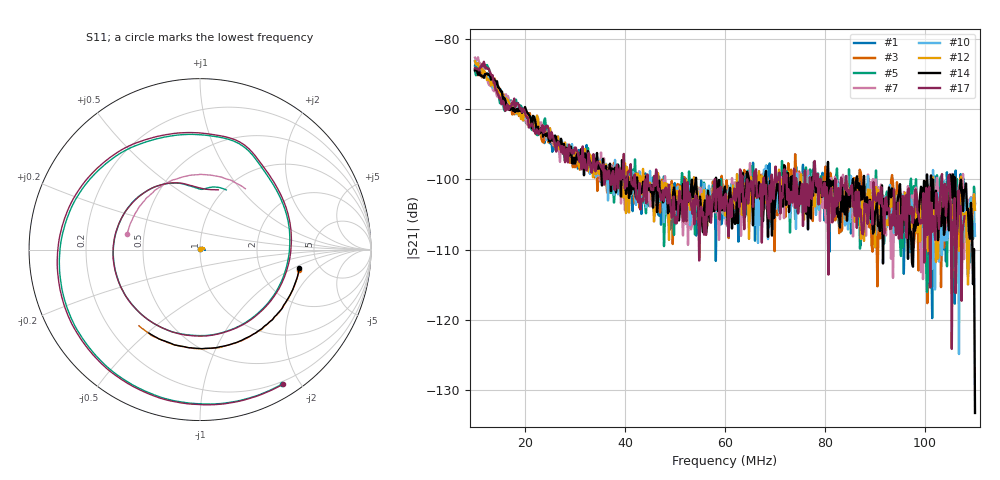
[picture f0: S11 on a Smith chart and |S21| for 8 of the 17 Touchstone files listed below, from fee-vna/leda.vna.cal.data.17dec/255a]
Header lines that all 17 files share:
! Anritsu VNA Master:  Model: MS2036C/10/77
! SN:  1601066
! Existing Calibration Information:
! TYPE:  Current Settings,  Active Cal Settings
! # POINTS:  501,  501
! START FREQ:  10.000 MHz,  10.000 MHz
! SOURCE POWER:  High,  High
! IFBW:  100 Hz,  100 Hz
! AVG FACTOR:  1 ,  1
! REF PLANE 1:  0 mm,  0 mm
! REF PLANE 2:  0 mm,  0 mm
! CAL TYPE:  Full S11,  Full S11
! CAL METHOD:  SOLT,  SOLT
! CAL LINE TYPE:  Coax,  Coax
! DUT PORT 2:  K-Conn(F),  K-Conn(F)
! CAL STATUS:  OK: Accuracy High,  --
# GHZ S DB R 50.0
! FREQ.GHZ  S11DB  S11A  S21DB  S21A  S12DB  S12A  S22DB  S22A
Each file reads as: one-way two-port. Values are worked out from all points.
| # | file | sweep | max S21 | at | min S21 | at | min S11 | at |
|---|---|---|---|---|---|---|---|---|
| 1 | 255.ew.n.r20.1_1.s2p | 10 MHz to 107.9 MHz | -83.40 dB | 10.2 MHz | -119.7 dB | 101.4 MHz | -44.9 dB | 10 MHz |
| 2 | 255.ew.n.r20.2.s2p | 10 MHz to 107.9 MHz | -82.39 dB | 10.39 MHz | -111.9 dB | 104.8 MHz | -7.4 dB | 30.95 MHz |
| 3 | 255.ew.n.r50.1_1.s2p | 10 MHz to 107.9 MHz | -84.30 dB | 10 MHz | -117.6 dB | 100.5 MHz | -4.9 dB | 107.7 MHz |
| 4 | 255.ew.n.r200.1.s2p | 10 MHz to 107.9 MHz | -84.28 dB | 10.39 MHz | -119.4 dB | 104.6 MHz | -4.9 dB | 107.7 MHz |
| 5 | 255.ew.sma.me.s2p | 10 MHz to 110 MHz | -83.75 dB | 12 MHz | -116.0 dB | 100.4 MHz | -9.1 dB | 101.2 MHz |
| 6 | 255.ew.sma.r20.12.s2p | 10 MHz to 110 MHz | -82.48 dB | 10.2 MHz | -115.3 dB | 106 MHz | -7.3 dB | 35 MHz |
| 7 | 255.ew.sma.r20.22.s2p | 10 MHz to 110 MHz | -82.66 dB | 10.6 MHz | -114.2 dB | 99.6 MHz | -7.3 dB | 35 MHz |
| 8 | 255.ew.sma.r20.v2.2.s2p | 10 MHz to 107.9 MHz | -82.52 dB | 10 MHz | -114.9 dB | 101 MHz | -7.3 dB | 34.87 MHz |
| 9 | 255.ew.sma.r50.11.s2p | 10 MHz to 110 MHz | -83.17 dB | 10 MHz | -122.5 dB | 104.4 MHz | -45.3 dB | 10.2 MHz |
| 10 | 255.ew.sma.r50.12.s2p | 10 MHz to 110 MHz | -83.18 dB | 10 MHz | -124.9 dB | 106.8 MHz | -45.6 dB | 10.4 MHz |
| 11 | 255.ew.sma.r50.21.s2p | 10 MHz to 110 MHz | -82.91 dB | 10 MHz | -116.6 dB | 105.8 MHz | -45.6 dB | 10.8 MHz |
| 12 | 255.ew.sma.r50.22.s2p | 10 MHz to 110 MHz | -83.23 dB | 10 MHz | -115.0 dB | 108.6 MHz | -45.5 dB | 11 MHz |
| 13 | 255.ew.sma.r200.11.s2p | 10 MHz to 110 MHz | -84.46 dB | 10.6 MHz | -116.2 dB | 103 MHz | -4.9 dB | 109.6 MHz |
| 14 | 255.ew.sma.r200.22.s2p | 10 MHz to 110 MHz | -84.42 dB | 10.4 MHz | -133.2 dB | 110 MHz | -4.9 dB | 109.6 MHz |
| 15 | 255.ew.sma.r200.v2.2.s2p | 10 MHz to 107.9 MHz | -84.32 dB | 10 MHz | -126.8 dB | 103.2 MHz | -4.8 dB | 100.3 MHz |
| 16 | 255.ew.sma.r200.v2.s2p | 10 MHz to 107.9 MHz | -84.02 dB | 10 MHz | -113.5 dB | 103.6 MHz | -4.8 dB | 107.9 MHz |
| 17 | 255.ew.sma.v2.s2p | 10 MHz to 107.9 MHz | -83.30 dB | 11.76 MHz | -124.1 dB | 105.4 MHz | -9.0 dB | 102.8 MHz |
